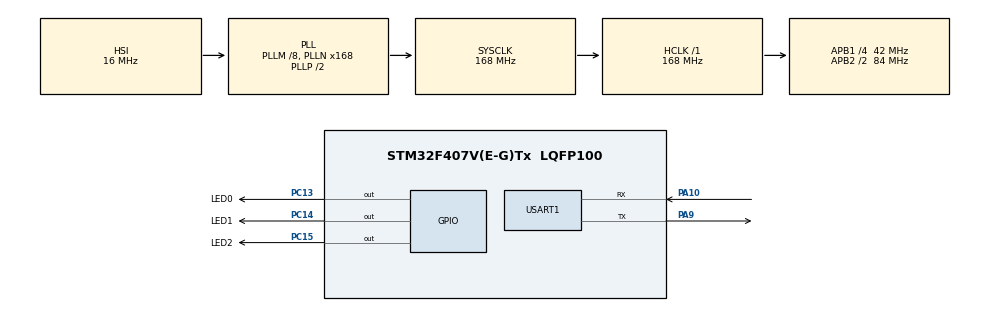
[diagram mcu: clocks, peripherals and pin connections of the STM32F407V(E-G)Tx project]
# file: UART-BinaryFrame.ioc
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Dma.Request0=USART1_RX
Dma.Request1=USART1_TX
Dma.USART1_RX.0.Direction=DMA_PERIPH_TO_MEMORY
Dma.USART1_RX.0.FIFOMode=DMA_FIFOMODE_DISABLE
Dma.USART1_RX.0.Instance=DMA2_Stream2
Dma.USART1_RX.0.MemDataAlignment=DMA_MDATAALIGN_BYTE
Dma.USART1_RX.0.MemInc=DMA_MINC_ENABLE
Dma.USART1_RX.0.Mode=DMA_NORMAL
Dma.USART1_RX.0.PeriphDataAlignment=DMA_PDATAALIGN_BYTE
Dma.USART1_RX.0.PeriphInc=DMA_PINC_DISABLE
Dma.USART1_RX.0.Priority=DMA_PRIORITY_LOW
Dma.USART1_TX.1.Direction=DMA_MEMORY_TO_PERIPH
Dma.USART1_TX.1.FIFOMode=DMA_FIFOMODE_DISABLE
Dma.USART1_TX.1.Instance=DMA2_Stream7
Dma.USART1_TX.1.MemDataAlignment=DMA_MDATAALIGN_BYTE
Dma.USART1_TX.1.MemInc=DMA_MINC_ENABLE
Dma.USART1_TX.1.Mode=DMA_NORMAL
Dma.USART1_TX.1.PeriphDataAlignment=DMA_PDATAALIGN_BYTE
Dma.USART1_TX.1.PeriphInc=DMA_PINC_DISABLE
Dma.USART1_TX.1.Priority=DMA_PRIORITY_LOW
Mcu.Family=STM32F4
Mcu.Name=STM32F407V(E-G)Tx
Mcu.Package=LQFP100
NVIC.DMA2_Stream2_IRQn=true\:0\:0\:false\:false\:true\:false\:true
NVIC.DMA2_Stream7_IRQn=true\:0\:0\:false\:false\:true\:false\:true
NVIC.PriorityGroup=NVIC_PRIORITYGROUP_4
NVIC.USART1_IRQn=true\:0\:0\:false\:false\:true\:true\:true
PA10.Mode=Asynchronous
PA10.Signal=USART1_RX
PA9.Mode=Asynchronous
PA9.Signal=USART1_TX
PC13-ANTI_TAMP.GPIO_Label=LED0
PC13-ANTI_TAMP.Signal=GPIO_Output
PC14-OSC32_IN.GPIO_Label=LED1
PC14-OSC32_IN.Signal=GPIO_Output
PC15-OSC32_OUT.GPIO_Label=LED2
PC15-OSC32_OUT.Signal=GPIO_Output
ProjectManager.HeapSize=0x200
ProjectManager.StackSize=0x400
ProjectManager.TargetToolchain=MDK-ARM V5.27
RCC.48MHZClocksFreq_Value=84000000
RCC.AHBFreq_Value=168000000
RCC.APB1CLKDivider=RCC_HCLK_DIV4
RCC.APB1Freq_Value=42000000
RCC.APB1TimFreq_Value=84000000
RCC.APB2CLKDivider=RCC_HCLK_DIV2
RCC.APB2Freq_Value=84000000
RCC.APB2TimFreq_Value=168000000
RCC.CortexFreq_Value=168000000
RCC.HCLKFreq_Value=168000000
RCC.HSE_VALUE=25000000
RCC.HSI_VALUE=16000000
RCC.LSE_VALUE=32768
RCC.PLLM=8
RCC.PLLN=168
RCC.SYSCLKFreq_VALUE=168000000
RCC.SYSCLKSource=RCC_SYSCLKSOURCE_PLLCLK
RCC.VCOOutputFreq_Value=336000000
USART1.VirtualMode=VM_ASYNC
board=custom

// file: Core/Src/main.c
/* USER CODE BEGIN Header */
/**
  ******************************************************************************
  * @file           : main.c
  * @brief          : Main program body
  ******************************************************************************
  * @attention
  *
  * <h2><center>&copy; Copyright (c) 2023 STMicroelectronics.
  * All rights reserved.</center></h2>
  *
  * This software component is licensed by ST under BSD 3-Clause license,
  * the "License"; You may not use this file except in compliance with the
  * License. You may obtain a copy of the License at:
  *                        opensource.org/licenses/BSD-3-Clause
  *
  ******************************************************************************
  */
/* USER CODE END Header */
#include "main.h"
#include "dma.h"
#include "usart.h"
#include "gpio.h"

/* USER CODE BEGIN Includes */
#include <string.h>
#include <stdio.h>
#include <stdarg.h>
/* USER CODE END Includes */

/* USER CODE BEGIN PTD */
//                         Circular Buffer (FIFO)
//            Overflow 0                           Overflow 1
//  _______________________________   |  ________________________________
// |_______|_____________|_________|  | |_____|_________________|________|
// 0       R             W         S  | 0     W                 R        S
//
// R: RPos, W: WPos, S: Size, OVF: Overflow
//
// Formulas: Available (Read)
// OVF  R    W
//  0   R <  W   =>   W - R
//  1   R >  W   =>   S - R + W
//  0   R == W   =>   0
//  1   R == W   =>   S
//  Available = S * OVF + W - R
//
// Formulas: Space (Write)
// OVF  R    W
//  0   R <  W   =>   S - W + R
//  1   R >  W   =>   R - W
//  0   R == W   =>   S
//  1   R == W   =>   0
//  Space = S * !OVF + R - W

typedef enum {
  UART_CircularBuffer_Result_Ok,
  UART_CircularBuffer_Result_NoSpace,
  UART_CircularBuffer_Result_NoAvailable,
} UART_CircularBuffer_Result;

typedef struct {
  UART_HandleTypeDef*     HUART;
  uint8_t*                Buffer;
  int16_t                 WPos;
  int16_t                 RPos;
  int16_t                 Size;
  int16_t                 PendingBytes;
  uint8_t                 Overflow;
  uint8_t                 InReceive;
  uint8_t                 InTransmit;
} UART_CircularBuffer;

// ASCII Frame
// <SOF><Data><EOF>
// <Data><EOF>
// <EOF> -> <CR><LF>
//
// Binary Frame
// <SOF><Data><EOF>
// <SOF><Data>

// -------------- My Frame -----------------
//  ____________________________________
// | Sync (4x) | Type (1x) | Params (N) |
// |___________|___________|____________|
//
// Sync: 0xAABBCCDD (BE) -> { 0xAA, 0xBB, 0xCC, 0xDD }
//
// Type:
// - None       (0x00)
// - Unknown    (0xFF)
// - Led-Set    (0x01)
// - Led-Get    (0x02)
// - Led-Status (0x03)
//
// Led-Set:
//  _______________________________
// | Led Num (1x) | Led State (1x) |
// |______________|________________|
//
// Led-Get:
//  ______________
// | Led Num (1x) |
// |______________|
//
// Led-Status:
//  _______________________________
// | Led Num (1x) | Led State (1x) |
// |______________|________________|
//

typedef enum {
  Frame_Type_None       = 0x00,
  Frame_Type_Unknown    = 0xFF,
  Frame_Type_LedSet     = 0x01,
  Frame_Type_LedGet     = 0x02,
  Frame_Type_LedStatus  = 0x03,
} Frame_Type;

typedef struct {
  uint8_t               LedNum;
  uint8_t               LedState;
} Params_LedSet;

typedef struct {
  uint8_t               LedNum;
} Params_LedGet;

typedef struct {
  uint8_t               LedNum;
  uint8_t               LedState;
} Params_LedStatus;

typedef union {
  Params_LedSet         LedSet;
  Params_LedGet         LedGet;
  Params_LedStatus      LedStatus;
} Frame_Params;

typedef struct {
  uint8_t               Type;
  Frame_Params          Params;
} Frame;

typedef enum {
  FrameParser_State_Sync,
  FrameParser_State_Type,
  FrameParser_State_Params,
} FrameParser_State;

typedef struct {
  uint16_t              RemainBytes;
  uint16_t              ParamsSize;
  FrameParser_State     State;
} FrameParser;

typedef struct {
  GPIO_TypeDef*         GPIO;
  uint16_t              Pin;
} Led_PinConfig;

/* USER CODE END PTD */

/* USER CODE BEGIN PV */
static const Led_PinConfig LED_CONFIGS[] = {
  { LED0_GPIO_Port, LED0_Pin },
  { LED1_GPIO_Port, LED1_Pin },
  { LED2_GPIO_Port, LED2_Pin },
};
static const uint8_t LED_CONFIGS_LEN = sizeof(LED_CONFIGS) / sizeof(LED_CONFIGS[0]);

static const uint8_t FRAME_SYNC[4] = { 0xAA, 0xBB, 0xCC, 0xDD };

static uint8_t uart1TxBuf[100];
static UART_CircularBuffer uart1Tx;

static uint8_t uart1RxBuf[100];
static UART_CircularBuffer uart1Rx;

static FrameParser frameParser;
/* USER CODE END PV */

void SystemClock_Config(void);
/* USER CODE BEGIN PFP */
void UART_CircularBuffer_init(UART_CircularBuffer* buf, UART_HandleTypeDef* huart, uint8_t* dataBuf, int16_t size);

int16_t UART_CircularBuffer_available(UART_CircularBuffer* buf);
int16_t UART_CircularBuffer_space(UART_CircularBuffer* buf);

int16_t UART_CircularBuffer_availableUncheck(UART_CircularBuffer* buf);
int16_t UART_CircularBuffer_spaceUncheck(UART_CircularBuffer* buf);

UART_CircularBuffer_Result UART_CircularBuffer_writeBytes(UART_CircularBuffer* buf, uint8_t* data, uint32_t len);
UART_CircularBuffer_Result UART_CircularBuffer_readBytes(UART_CircularBuffer* buf, uint8_t* data, uint32_t len);
UART_CircularBuffer_Result UART_CircularBuffer_getBytes(UART_CircularBuffer* buf, uint8_t* data, uint32_t len);

UART_CircularBuffer_Result UART_CircularBuffer_writeFmt(UART_CircularBuffer* buf, const char* fmt, ...);

void UART_CircularBuffer_moveWritePos(UART_CircularBuffer* buf, int16_t step);
void UART_CircularBuffer_moveReadPos(UART_CircularBuffer* buf, int16_t step);

int16_t UART_CircularBuffer_directAvailable(UART_CircularBuffer* buf);
int16_t UART_CircularBuffer_directSpace(UART_CircularBuffer* buf);

uint8_t* UART_CircularBuffer_getReadDataPtr(UART_CircularBuffer* buf);
uint8_t* UART_CircularBuffer_getWriteDataPtr(UART_CircularBuffer* buf);

int16_t UART_CircularBuffer_findByte(UART_CircularBuffer* buf, uint8_t val);

// UART Rx APIs
void UART_CircularBuffer_receive(UART_CircularBuffer* buf);
void UART_CircularBuffer_handleRx(UART_CircularBuffer* buf);
// UART Tx APIS
void UART_CircularBuffer_transmit(UART_CircularBuffer* buf);
void UART_CircularBuffer_handleTx(UART_CircularBuffer* buf);

// ---------- Parser APIs -------------

uint8_t FrameParser_parse(UART_CircularBuffer* buf, FrameParser* parser, Frame* frame);
int16_t paramsSize(Frame_Type type);

void FrameParser_init(FrameParser* parser);

void sendFrame(UART_CircularBuffer* buf, Frame* frame);

/* USER CODE END PFP */

/* USER CODE BEGIN 0 */
int fputc(int ch, FILE* f) {
  UART_CircularBuffer_writeBytes(&uart1Tx, (uint8_t*) &ch, 1);
  UART_CircularBuffer_transmit(&uart1Tx);

  return ch;
}
/* USER CODE END 0 */

int main(void)
{

  /* MCU Configuration--------------------------------------------------------*/

  /* Reset of all peripherals, Initializes the Flash interface and the Systick. */
  HAL_Init();

  /* Configure the system clock */
  SystemClock_Config();

  /* Initialize all configured peripherals */
  MX_GPIO_Init();
  MX_DMA_Init();
  MX_USART1_UART_Init();
  /* USER CODE BEGIN 2 */
  UART_CircularBuffer_init(&uart1Tx, &huart1, uart1TxBuf, sizeof(uart1TxBuf));
  UART_CircularBuffer_init(&uart1Rx, &huart1, uart1RxBuf, sizeof(uart1RxBuf));

  FrameParser_init(&frameParser);
  /* USER CODE END 2 */

  /* Infinite loop */
  /* USER CODE BEGIN WHILE */
  UART_CircularBuffer_receive(&uart1Rx);
  while (1)
  {
    if (UART_CircularBuffer_available(&uart1Rx) > frameParser.RemainBytes) {
      // find frame
      Frame frame;
      Frame txFrame;
      if (FrameParser_parse(&uart1Rx, &frameParser, &frame)) {
        // process frame
        switch ((Frame_Type) frame.Type) {
          case Frame_Type_LedSet:
            if (frame.Params.LedSet.LedNum < LED_CONFIGS_LEN) {
              HAL_GPIO_WritePin(
                LED_CONFIGS[frame.Params.LedSet.LedNum].GPIO,
                LED_CONFIGS[frame.Params.LedSet.LedNum].Pin,
                frame.Params.LedSet.LedState
              );
              txFrame.Type = Frame_Type_None;
              sendFrame(&uart1Tx, &txFrame);
            }
            else {
              txFrame.Type = Frame_Type_Unknown;
              sendFrame(&uart1Tx, &txFrame);
            }

            /*switch (frame.Params.LedSet.LedNum) {
              case 0:
                HAL_GPIO_WritePin(LED0_GPIO_Port, LED0_Pin, frame.Params.LedSet.LedState);
                break;
              case 1:
                HAL_GPIO_WritePin(LED1_GPIO_Port, LED1_Pin, frame.Params.LedSet.LedState);
                break;
              case 2:
                HAL_GPIO_WritePin(LED2_GPIO_Port, LED2_Pin, frame.Params.LedSet.LedState);
                break;
            }*/
            break;
          case Frame_Type_LedGet:
            // Read Led Status
            txFrame.Type = Frame_Type_LedStatus;
            txFrame.Params.LedStatus.LedState = (LED_CONFIGS[frame.Params.LedGet.LedNum].GPIO->ODR & LED_CONFIGS[frame.Params.LedGet.LedNum].Pin) != 0;
            sendFrame(&uart1Tx, &txFrame);
            break;
          case Frame_Type_LedStatus:
            // No need process
            txFrame.Type = Frame_Type_Unknown;
            sendFrame(&uart1Tx, &txFrame);
            break;
          case Frame_Type_None:
            txFrame.Type = Frame_Type_Unknown;
            sendFrame(&uart1Tx, &txFrame);
            break;
          case Frame_Type_Unknown:
            txFrame.Type = Frame_Type_Unknown;
            sendFrame(&uart1Tx, &txFrame);
            break;
          default:
            txFrame.Type = Frame_Type_Unknown;
            sendFrame(&uart1Tx, &txFrame);
            break;
        }
      }
    }

    /* USER CODE END WHILE */

  }
}

void SystemClock_Config(void)
{
  RCC_OscInitTypeDef RCC_OscInitStruct = {0};
  RCC_ClkInitTypeDef RCC_ClkInitStruct = {0};

  /** Configure the main internal regulator output voltage
  */
  __HAL_RCC_PWR_CLK_ENABLE();
  __HAL_PWR_VOLTAGESCALING_CONFIG(PWR_REGULATOR_VOLTAGE_SCALE1);
  /** Initializes the RCC Oscillators according to the specified parameters
  * in the RCC_OscInitTypeDef structure.
  */
  RCC_OscInitStruct.OscillatorType = RCC_OSCILLATORTYPE_HSI;
  RCC_OscInitStruct.HSIState = RCC_HSI_ON;
  RCC_OscInitStruct.HSICalibrationValue = RCC_HSICALIBRATION_DEFAULT;
  RCC_OscInitStruct.PLL.PLLState = RCC_PLL_ON;
  RCC_OscInitStruct.PLL.PLLSource = RCC_PLLSOURCE_HSI;
  RCC_OscInitStruct.PLL.PLLM = 8;
  RCC_OscInitStruct.PLL.PLLN = 168;
  RCC_OscInitStruct.PLL.PLLP = RCC_PLLP_DIV2;
  RCC_OscInitStruct.PLL.PLLQ = 4;
  if (HAL_RCC_OscConfig(&RCC_OscInitStruct) != HAL_OK)
  {
    Error_Handler();
  }
  /** Initializes the CPU, AHB and APB buses clocks
  */
  RCC_ClkInitStruct.ClockType = RCC_CLOCKTYPE_HCLK|RCC_CLOCKTYPE_SYSCLK
                              |RCC_CLOCKTYPE_PCLK1|RCC_CLOCKTYPE_PCLK2;
  RCC_ClkInitStruct.SYSCLKSource = RCC_SYSCLKSOURCE_PLLCLK;
  RCC_ClkInitStruct.AHBCLKDivider = RCC_SYSCLK_DIV1;
  RCC_ClkInitStruct.APB1CLKDivider = RCC_HCLK_DIV4;
  RCC_ClkInitStruct.APB2CLKDivider = RCC_HCLK_DIV2;

  if (HAL_RCC_ClockConfig(&RCC_ClkInitStruct, FLASH_LATENCY_5) != HAL_OK)
  {
    Error_Handler();
  }
}

/* USER CODE BEGIN 4 */
void sendFrame(UART_CircularBuffer* buf, Frame* frame) {
  // Write SYNC
  UART_CircularBuffer_writeBytes(buf, (uint8_t*) FRAME_SYNC, sizeof(FRAME_SYNC));
  // Write Type
  UART_CircularBuffer_writeBytes(buf, (uint8_t*) &frame->Type, sizeof(frame->Type));
  // Write Params
  UART_CircularBuffer_writeBytes(buf, (uint8_t*) &frame->Params, paramsSize(frame->Type));
  // Flush
  UART_CircularBuffer_transmit(buf);
}

uint8_t FrameParser_parse(UART_CircularBuffer* buf, FrameParser* parser, Frame* frame) {
  uint8_t temp[sizeof(FRAME_SYNC)] = {0};
  int16_t index;

  switch (parser->State) {
    case FrameParser_State_Sync:
      while (UART_CircularBuffer_available(buf) > sizeof(FRAME_SYNC) &&
             (index = UART_CircularBuffer_findByte(buf, FRAME_SYNC[0])) >= 0
      ) {
        // ignore bytes
        if (index > 0) {
          UART_CircularBuffer_moveReadPos(buf, index);
        }
        // read 4 bytes for pattern
        if (UART_CircularBuffer_getBytes(buf, temp, sizeof(temp)) == UART_CircularBuffer_Result_Ok) {
          // check pattern
          if (memcmp(FRAME_SYNC, temp, sizeof(FRAME_SYNC)) == 0) {
            // Ignore pattern bytes
            UART_CircularBuffer_moveReadPos(buf, sizeof(FRAME_SYNC));
            // sync found
            parser->State = FrameParser_State_Type;
            parser->RemainBytes = sizeof(frame->Type) - 1;
            parser->ParamsSize = 0;
            break;
          }
          else {
            // Ignore wrong byte
            UART_CircularBuffer_moveReadPos(buf, 1);
          }
        }
      }
      break;
    case FrameParser_State_Type:
      // Read Type
      UART_CircularBuffer_readBytes(buf, &frame->Type, sizeof(frame->Type));
      // Read Params
      parser->ParamsSize = paramsSize(frame->Type);
      // set parser
      if (parser->ParamsSize > 0) {
        parser->State = FrameParser_State_Params;
        parser->RemainBytes = parser->ParamsSize - 1;
      }
      else {
        parser->State = FrameParser_State_Sync;
        parser->RemainBytes = sizeof(FRAME_SYNC) - 1;
        return 1;
      }
      break;
    case FrameParser_State_Params:
      // Read params
      UART_CircularBuffer_readBytes(buf, (uint8_t*) &frame->Params, parser->ParamsSize);
      // set parser
      parser->State = FrameParser_State_Sync;
      parser->RemainBytes = sizeof(FRAME_SYNC) - 1;
      return 1;
      break;
    default:
      parser->State = FrameParser_State_Sync;
      parser->RemainBytes = sizeof(FRAME_SYNC) - 1;
      break;
  }

  return 0;
}

int16_t paramsSize(Frame_Type type) {
  switch (type) {
    case Frame_Type_LedSet:
      return sizeof(Params_LedSet);
    case Frame_Type_LedGet:
      return sizeof(Params_LedGet);
    case Frame_Type_LedStatus:
      return sizeof(Params_LedStatus);
    case Frame_Type_Unknown:
    case Frame_Type_None:
    default:
      return 0;
  }
}

void FrameParser_init(FrameParser* parser) {
  parser->ParamsSize = 0;
  parser->RemainBytes = sizeof(FRAME_SYNC);
  parser->State = FrameParser_State_Sync;
}

void HAL_UART_TxCpltCallback(UART_HandleTypeDef* huart) {
  switch ((uint32_t) huart->Instance) {
    case USART1_BASE:
      UART_CircularBuffer_handleTx(&uart1Tx);
      break;
    default:

      break;
  }
}

void HAL_UART_RxCpltCallback(UART_HandleTypeDef* huart) {
  switch ((uint32_t) huart->Instance) {
    case USART1_BASE:
      UART_CircularBuffer_handleRx(&uart1Rx);
      break;
    default:

      break;
  }
}

void UART_CircularBuffer_init(UART_CircularBuffer* buf, UART_HandleTypeDef* huart, uint8_t* dataBuf, int16_t size) {
  buf->HUART = huart;
  buf->Buffer = dataBuf;
  buf->Size = size;
  buf->Overflow = 0;
  buf->RPos = 0;
  buf->WPos = 0;
  buf->InReceive = 0;
  buf->InTransmit = 0;
}

int16_t UART_CircularBuffer_availableUncheck(UART_CircularBuffer* buf) {
  return buf->Size * buf->Overflow + buf->WPos - buf->RPos;
}
int16_t UART_CircularBuffer_spaceUncheck(UART_CircularBuffer* buf) {
  return buf->Size * (!buf->Overflow) + buf->RPos - buf->WPos;
}

int16_t UART_CircularBuffer_available(UART_CircularBuffer* buf) {
  int16_t bytesLen = buf->HUART->hdmarx ?
                      buf->PendingBytes - __HAL_DMA_GET_COUNTER(buf->HUART->hdmarx) :
                      buf->PendingBytes - buf->HUART->RxXferCount;

  if (bytesLen > 0) {
    UART_CircularBuffer_moveWritePos(buf, bytesLen);
    buf->PendingBytes -= bytesLen;
  }

  return UART_CircularBuffer_availableUncheck(buf);
}
int16_t UART_CircularBuffer_space(UART_CircularBuffer* buf) {
  int16_t bytesLen = buf->HUART->hdmatx ?
                      buf->PendingBytes - __HAL_DMA_GET_COUNTER(buf->HUART->hdmatx) :
                      buf->PendingBytes - buf->HUART->TxXferCount;

  if (bytesLen > 0) {
    UART_CircularBuffer_moveReadPos(buf, bytesLen);
    buf->PendingBytes -= bytesLen;
  }

  return UART_CircularBuffer_spaceUncheck(buf);
}

UART_CircularBuffer_Result UART_CircularBuffer_writeBytes(UART_CircularBuffer* buf, uint8_t* data, uint32_t len) {
  if (UART_CircularBuffer_space(buf) < len) {
    return UART_CircularBuffer_Result_NoSpace;
  }

  if (buf->WPos + len >= buf->Size) {
    int16_t tmpLen = buf->Size - buf->WPos;

    memcpy(&buf->Buffer[buf->WPos], data, tmpLen);
    data += tmpLen;
    len -= tmpLen;
    // buf->WPos = (buf->WPos + tmpLen) % buf->Size
    buf->WPos = 0;
    buf->Overflow = 1;
  }

  if (len > 0) {
    memcpy(&buf->Buffer[buf->WPos], data, len);
    buf->WPos += len;
  }

  return UART_CircularBuffer_Result_Ok;
}
UART_CircularBuffer_Result UART_CircularBuffer_readBytes(UART_CircularBuffer* buf, uint8_t* data, uint32_t len) {
  if (UART_CircularBuffer_available(buf) < len) {
    return UART_CircularBuffer_Result_NoAvailable;
  }

  if (buf->RPos + len >= buf->Size) {
    int16_t tmpLen = buf->Size - buf->RPos;

    memcpy(data, &buf->Buffer[buf->RPos], tmpLen);
    data += tmpLen;
    len -= tmpLen;
    // buf->RPos = (buf->RPos + tmpLen) % buf->Size
    buf->RPos = 0;
    buf->Overflow = 0;
  }

  if (len > 0) {
    memcpy(data, &buf->Buffer[buf->RPos], len);
    buf->RPos += len;
  }

  return UART_CircularBuffer_Result_Ok;
}
UART_CircularBuffer_Result UART_CircularBuffer_getBytes(UART_CircularBuffer* buf, uint8_t* data, uint32_t len) {
  if (UART_CircularBuffer_available(buf) < len) {
    return UART_CircularBuffer_Result_NoAvailable;
  }

  int16_t rpos = buf->RPos;

  if (rpos + len >= buf->Size) {
    int16_t tmpLen = buf->Size - rpos;

    memcpy(data, &buf->Buffer[rpos], tmpLen);
    data += tmpLen;
    len -= tmpLen;
    // rpos = (rpos + tmpLen) % buf->Size
    rpos = 0;
    buf->Overflow = 0;
  }

  if (len > 0) {
    memcpy(data, &buf->Buffer[rpos], len);
  }

  return UART_CircularBuffer_Result_Ok;
}

UART_CircularBuffer_Result UART_CircularBuffer_writeFmt(UART_CircularBuffer* buf, const char* fmt, ...) {
  char temp[64];

  va_list args;
  va_start(args, fmt);
  int16_t len = vsnprintf(temp, sizeof(temp) - 1, fmt, args);
  va_end(args);

  return UART_CircularBuffer_writeBytes(buf, (uint8_t*) temp, len);
}

void UART_CircularBuffer_moveWritePos(UART_CircularBuffer* buf, int16_t step) {
  buf->WPos += step;
  if (buf->WPos >= buf->Size) {
    buf->WPos = 0;
    buf->Overflow = 1;
  }
}

void UART_CircularBuffer_moveReadPos(UART_CircularBuffer* buf, int16_t step) {
  buf->RPos += step;
  if (buf->RPos >= buf->Size) {
    buf->RPos = 0;
    buf->Overflow = 0;
  }
}
int16_t UART_CircularBuffer_directAvailable(UART_CircularBuffer* buf) {
  return buf->Overflow ? buf->Size - buf->RPos :
                         buf->WPos - buf->RPos;
}
int16_t UART_CircularBuffer_directSpace(UART_CircularBuffer* buf) {
  return buf->Overflow ? buf->RPos - buf->WPos :
                         buf->Size - buf->WPos;
}
uint8_t* UART_CircularBuffer_getReadDataPtr(UART_CircularBuffer* buf) {
  return &buf->Buffer[buf->RPos];
}
uint8_t* UART_CircularBuffer_getWriteDataPtr(UART_CircularBuffer* buf) {
  return &buf->Buffer[buf->WPos];
}

int16_t UART_CircularBuffer_findByte(UART_CircularBuffer* buf, uint8_t val) {
  if (UART_CircularBuffer_available(buf) <= 0) {
    return -1;
  }

  int16_t offset = 0;
  int16_t len = UART_CircularBuffer_directAvailable(buf);
  uint8_t* base = UART_CircularBuffer_getReadDataPtr(buf);
  uint8_t* p = memchr(base, val, len);

  if (p == NULL && buf->Overflow) {
    offset = len;
    base = buf->Buffer;
    len = buf->WPos;
    p = memchr(base, val, len);
  }

  return p == NULL ? -1 : (int16_t)(p - base) + offset;
}

// --------------------- UART Rx APIs --------------------------
void UART_CircularBuffer_receive(UART_CircularBuffer* buf) {
  if (!buf->InReceive) {
    buf->PendingBytes = UART_CircularBuffer_directSpace(buf);
    if (buf->PendingBytes > 0) {
      buf->InReceive = 1;
      // Check IT or DMA
      if (buf->HUART->hdmarx) {
        HAL_UART_Receive_DMA(
            buf->HUART,
            UART_CircularBuffer_getWriteDataPtr(buf),
            buf->PendingBytes
        );
      }
      else {
        HAL_UART_Receive_IT(
            buf->HUART,
            UART_CircularBuffer_getWriteDataPtr(buf),
            buf->PendingBytes
        );
      }
    }
  }
}
void UART_CircularBuffer_handleRx(UART_CircularBuffer* buf) {
  if (buf->InReceive) {
    buf->InReceive = 0;
    UART_CircularBuffer_moveWritePos(buf, buf->PendingBytes);
    UART_CircularBuffer_receive(buf);
  }
}
// --------------------- UART Tx APIs --------------------------
void UART_CircularBuffer_transmit(UART_CircularBuffer* buf) {
  if (!buf->InTransmit) {
    buf->PendingBytes = UART_CircularBuffer_directAvailable(buf);
    if (buf->PendingBytes > 0) {
      buf->InTransmit = 1;
      // Check IT or DMA
      if (buf->HUART->hdmatx) {
        HAL_UART_Transmit_DMA(
            buf->HUART,
            UART_CircularBuffer_getReadDataPtr(buf),
            buf->PendingBytes
        );
      }
      else {
        HAL_UART_Transmit_IT(
            buf->HUART,
            UART_CircularBuffer_getReadDataPtr(buf),
            buf->PendingBytes
        );
      }
    }
  }
}
void UART_CircularBuffer_handleTx(UART_CircularBuffer* buf) {
  if (buf->InTransmit) {
    buf->InTransmit = 0;
    UART_CircularBuffer_moveReadPos(buf, buf->PendingBytes);
    UART_CircularBuffer_transmit(buf);
  }
}
/* USER CODE END 4 */

void Error_Handler(void)
{
  __disable_irq();
  while (1)
  {
  }
}

/************************ (C) COPYRIGHT STMicroelectronics *****END OF FILE****/
